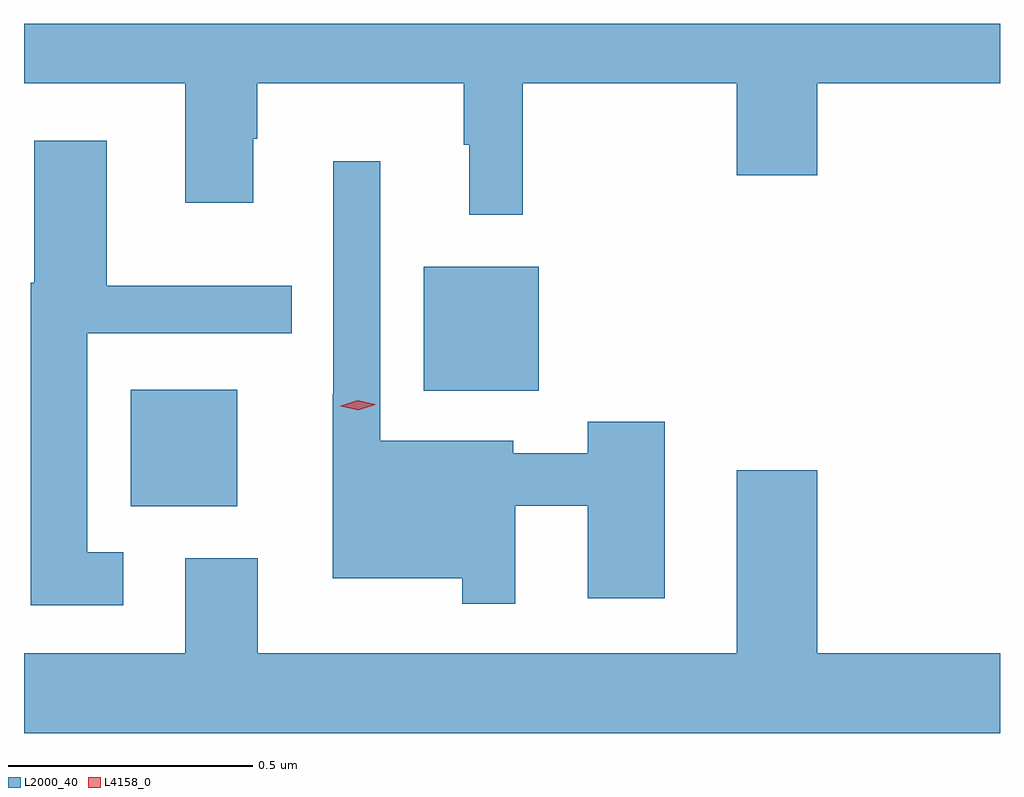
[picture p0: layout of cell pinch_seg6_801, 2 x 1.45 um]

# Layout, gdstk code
import gdstk
lib = gdstk.Library(unit=1e-6, precision=1e-09)
def R(c, l, rs):  # rectangles x0, y0, x1, y1
    for r in rs: c.add(gdstk.rectangle(r[:2], r[2:], *l))
def P(c, l, *ps):  # polygons
    for p in ps: c.add(gdstk.Polygon(p, *l))
L2000_40 = (2000, 40)
L4158_0 = (4158, 0)

pinch_seg6_801 = lib.new_cell('pinch_seg6_801')
R(pinch_seg6_801, L2000_40, [(331.598,983.765,331.816,984.004), (332.198,984.002,332.434,984.256)])
P(pinch_seg6_801, L2000_40, [(332.401,984.632),(332.84,984.632),(332.84,984.444),(333.004,984.444),(333.004,984.632),(333.379,984.632),(333.379,984.754),(331.379,984.754),(331.379,984.632),(331.709,984.632),(331.709,984.387),(331.849,984.387),(331.849,984.518),(331.857,984.518),(331.857,984.632),(332.28,984.632),(332.28,984.506),(332.291,984.506),(332.291,984.363),(332.401,984.363)],
  [(331.582,983.671),(331.509,983.671),(331.509,984.12),(331.928,984.12),(331.928,984.217),(331.549,984.217),(331.549,984.514),(331.4,984.514),(331.4,984.223),(331.393,984.223),(331.393,983.562),(331.582,983.562)],
  [(332.386,983.766),(332.534,983.766),(332.534,983.577),(332.692,983.577),(332.692,983.938),(332.534,983.938),(332.534,983.874),(332.382,983.874),(332.382,983.899),(332.109,983.899),(332.109,984.472),(332.013,984.472),(332.013,983.995),(332.012,983.995),(332.012,983.618),(332.277,983.618),(332.277,983.565),(332.386,983.565)],
  [(333.379,983.464),(333.004,983.464),(333.004,983.839),(332.84,983.839),(332.84,983.464),(331.858,983.464),(331.858,983.659),(331.709,983.659),(331.709,983.464),(331.379,983.464),(331.379,983.3),(333.379,983.3)])
P(pinch_seg6_801, L4158_0, [(332.064,983.962),(332.028,983.97),(332.027,983.971),(332.028,983.971),(332.063,983.982),(332.099,983.974),(332.099,983.974),(332.099,983.973)])

lib.write_gds('pinch_seg6_801.gds')
